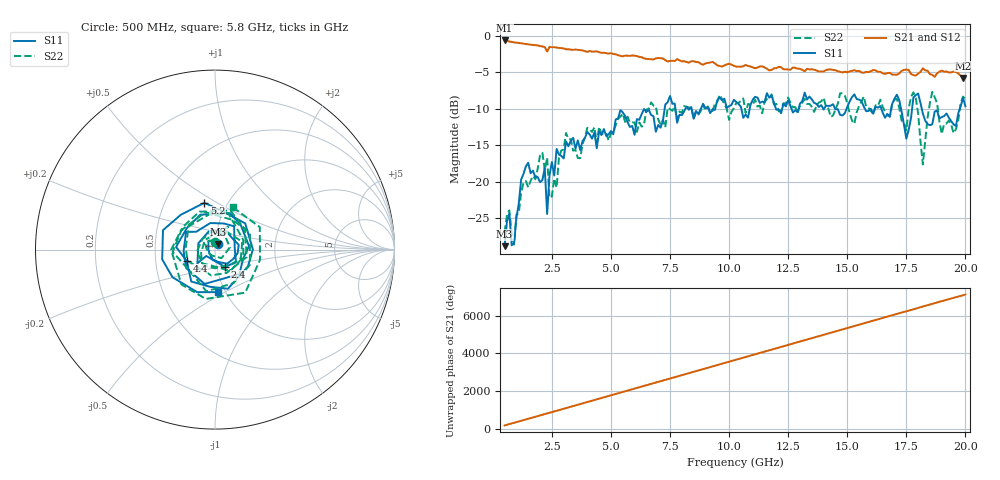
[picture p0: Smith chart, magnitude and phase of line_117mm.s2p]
!Created with skrf (http://scikit-rf.org).
# GHz S RI R 50.0
!freq ReS11 ImS11 ReS21 ImS21 ReS12 ImS12 ReS22 ImS22
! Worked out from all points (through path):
!   196 points, 500 MHz to 20 GHz, reference 50 ohm
!   highest |S21| = -0.62 dB at 500 MHz (marker M1); lowest = -5.8 dB at 19.9 GHz (marker M2)
!   lowest |S11| = -28.8 dB at 500 MHz (marker M3), VSWR 1.07, Z = 51.8 + j3.22 ohm
!   |S11| at or under -10 dB: start of sweep to 7.273 GHz; 14.49 GHz to 14.97 GHz (479.7 MHz wide, 3.26 % of centre); 18.16 GHz to 19.76 GHz (1.607 GHz wide, 8.48 % of centre)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
!   |S22| runs from -28.6 to -7.7 dB; largest |S21 - S12| = 0.44
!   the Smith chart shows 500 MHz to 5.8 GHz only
!   S11 on the Smith chart (normalised r, x): 500 MHz: 1.04, +0.06; 2.4 GHz: 1.09, -0.21; 4.4 GHz: 0.72, -0.09; 5.2 GHz: 0.78, +0.44; 5.8 GHz: 0.92, -0.46
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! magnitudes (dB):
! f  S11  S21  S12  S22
! 500 MHz  -28.8  -0.6  -0.6  -26.9
! 900 MHz  -28.4  -0.9  -0.9  -28.6
! 1.4 GHz  -17.9  -1.1  -1.2  -19.9
! 2.1 GHz  -19.8  -1.4  -1.4  -16.0
! 2.3 GHz  -24.4  -2.1  -2.2  -16.7
! 2.4 GHz  -19.1  -1.5  -1.5  -22.2
! 3.1 GHz  -14.5  -1.8  -1.9  -13.3
! 3.8 GHz  -14.4  -2.0  -2.0  -14.8
! 4.4 GHz  -15.4  -2.1  -2.2  -14.6
! 5.2 GHz  -11.5  -2.5  -2.6  -12.2
! 5.8 GHz  -12.5  -2.7  -2.7  -11.8
! 7 GHz  -12.2  -3.0  -3.0  -11.4
! 10.3 GHz  -9.0  -4.2  -4.3  -9.2
! 13.5 GHz  -8.7  -4.6  -4.6  -9.7
! 16.8 GHz  -11.1  -5.0  -5.1  -11.1
! 17.5 GHz  -14.1  -4.6  -4.6  -12.9
! 17.8 GHz  -8.4  -5.4  -5.4  -7.7
! 18.2 GHz  -10.6  -4.4  -4.6  -17.6
! 18.6 GHz  -12.1  -5.3  -5.4  -7.7
! 19 GHz  -11.1  -4.8  -4.8  -13.4
! 19.9 GHz  -8.5  -5.8  -5.7  -8.3
! 20 GHz  -9.7  -5.7  -5.7  -8.7
